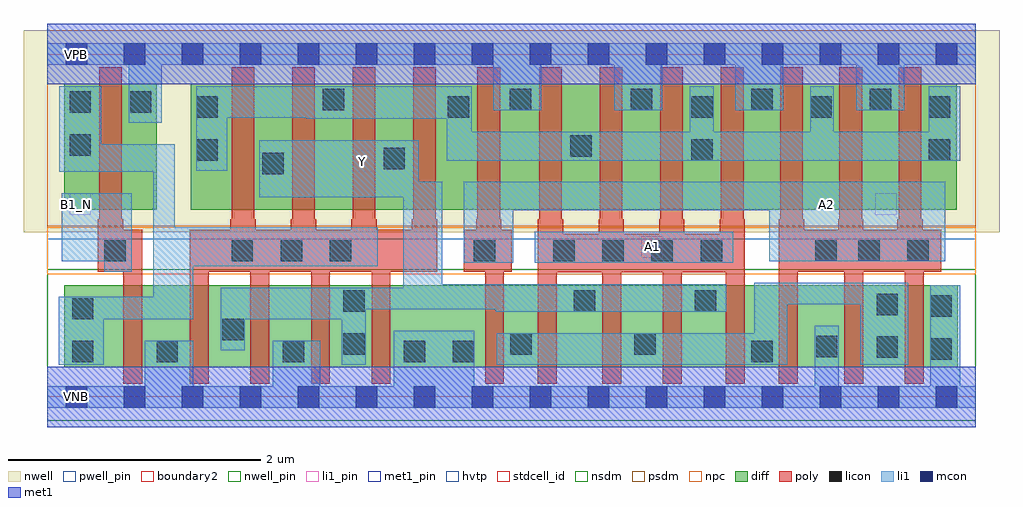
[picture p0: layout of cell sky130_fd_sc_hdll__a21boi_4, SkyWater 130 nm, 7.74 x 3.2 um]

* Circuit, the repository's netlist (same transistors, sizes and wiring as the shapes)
* Copyright 2020 The SkyWater PDK Authors
*
* Licensed under the Apache License, Version 2.0 (the "License");
* you may not use this file except in compliance with the License.
* You may obtain a copy of the License at
*
*     https://www.apache.org/licenses/LICENSE-2.0
*
* Unless required by applicable law or agreed to in writing, software
* distributed under the License is distributed on an "AS IS" BASIS,
* WITHOUT WARRANTIES OR CONDITIONS OF ANY KIND, either express or implied.
* See the License for the specific language governing permissions and
* limitations under the License.
*
* SPDX-License-Identifier: Apache-2.0

.SUBCKT sky130_fd_sc_hdll__a21boi_4 A1 A2 B1_N VGND VNB VPB VPWR Y
*.PININFO A1:I A2:I B1_N:I VGND:I VNB:I VPB:I VPWR:I Y:O
MMPA0 net40 A1 VPWR VPB sky130_fd_pr__pfet_01v8_hvt m=4 w=1.0U l=0.18U mult=1 sa=0.265
+ sb=0.265 sd=0.28 area=0.063 perim=1.14
MMPA1 net40 A2 VPWR VPB sky130_fd_pr__pfet_01v8_hvt m=4 w=1.0U l=0.18U mult=1 sa=0.265
+ sb=0.265 sd=0.28 area=0.063 perim=1.14
MMPB0 Y B1 net40 VPB sky130_fd_pr__pfet_01v8_hvt m=4 w=1.0U l=0.18U mult=1 sa=0.265
+ sb=0.265 sd=0.28 area=0.063 perim=1.14
MMIPB1N B1 B1_N VPWR VPB sky130_fd_pr__pfet_01v8_hvt m=1 w=1.0U l=0.18U mult=1
+ sa=0.265 sb=0.265 sd=0.28 area=0.063 perim=1.14
MMNA0 Y A1 sndA1 VNB sky130_fd_pr__nfet_01v8 m=4 w=0.65U l=0.15U mult=1 sa=0.265
+ sb=0.265 sd=0.28 area=0.063 perim=1.14
MMNA1 sndA1 A2 VGND VNB sky130_fd_pr__nfet_01v8 m=4 w=0.65U l=0.15U mult=1 sa=0.265
+ sb=0.265 sd=0.28 area=0.063 perim=1.14
MMNB0 Y B1 VGND VNB sky130_fd_pr__nfet_01v8 m=4 w=0.65U l=0.15U mult=1 sa=0.265
+ sb=0.265 sd=0.28 area=0.063 perim=1.14
MMINB1N B1 B1_N VGND VNB sky130_fd_pr__nfet_01v8 m=1 w=0.65U l=0.15U mult=1 sa=0.265
+ sb=0.265 sd=0.28 area=0.063 perim=1.14
.ENDS sky130_fd_sc_hdll__a21boi_4

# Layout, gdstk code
import gdstk
lib = gdstk.Library(unit=1e-6, precision=1e-09)
def R(c, l, rs):  # rectangles x0, y0, x1, y1
    for r in rs: c.add(gdstk.rectangle(r[:2], r[2:], *l))
def A(c, l, x, y, w, h, nx, ny, dx, dy):  # array of equal rectangles
    R(c, l, [(x+i*dx, y+j*dy, x+i*dx+w, y+j*dy+h) for i in range(nx) for j in range(ny)])
def P(c, l, *ps):  # polygons
    for p in ps: c.add(gdstk.Polygon(p, *l))
nwell_pin = (64, 16)
nwell = (64, 20)
diff = (65, 20)
poly = (66, 20)
licon = (66, 44)
li1_pin = (67, 16)
li1 = (67, 20)
mcon = (67, 44)
met1_pin = (68, 16)
met1 = (68, 20)
hvtp = (78, 44)
stdcell_id = (81, 4)
nsdm = (93, 44)
psdm = (94, 20)
npc = (95, 20)
pwell_pin = (122, 16)
boundary2 = (236, 0)

sky130_fd_sc_hdll__a21bo = lib.new_cell('sky130_fd_sc_hdll__a21boi_4')
R(sky130_fd_sc_hdll__a21bo, nwell_pin, [(0.145,2.635,0.315,2.805)])
R(sky130_fd_sc_hdll__a21bo, nwell, [(-0.19,1.305,7.55,2.91)])
R(sky130_fd_sc_hdll__a21bo, diff, [(0.135,0.235,7.22,0.885), (0.135,1.485,0.865,2.485), (1.135,1.485,7.21,2.485)])
P(sky130_fd_sc_hdll__a21bo, poly, [(0.75,1.325),(0.6,1.325),(0.6,1.41),(0.59,1.41),(0.59,2.615),(0.41,2.615),(0.41,1.41),(0.4,1.41),(0.4,0.995),(0.6,0.995),(0.6,0.105),(0.75,0.105)],
  [(3.09,1.41),(3.08,1.41),(3.08,2.615),(2.9,2.615),(2.9,1.41),(2.89,1.41),(2.89,1.325),(2.61,1.325),(2.61,1.41),(2.6,1.41),(2.6,2.615),(2.42,2.615),(2.42,1.41),(2.41,1.41),(2.41,1.325),(2.13,1.325),(2.13,1.41),(2.12,1.41),(2.12,2.615),(1.94,2.615),(1.94,1.41),(1.93,1.41),(1.93,1.325),(1.65,1.325),(1.65,1.41),(1.64,1.41),(1.64,2.615),(1.46,2.615),(1.46,1.41),(1.45,1.41),(1.45,1.325),(1.13,1.325),(1.13,0.105),(1.28,0.105),(1.28,0.995),(1.61,0.995),(1.61,0.105),(1.76,0.105),(1.76,0.995),(2.09,0.995),(2.09,0.105),(2.24,0.105),(2.24,0.995),(2.57,0.995),(2.57,0.105),(2.72,0.105),(2.72,0.995),(3.09,0.995)],
  [(3.68,1.325),(3.6,1.325),(3.6,1.41),(3.59,1.41),(3.59,2.615),(3.41,2.615),(3.41,1.41),(3.4,1.41),(3.4,1.325),(3.3,1.325),(3.3,0.995),(3.47,0.995),(3.47,0.105),(3.62,0.105),(3.62,0.995),(3.68,0.995)],
  [(5.53,1.41),(5.52,1.41),(5.52,2.615),(5.34,2.615),(5.34,1.41),(5.33,1.41),(5.33,1.295),(5.05,1.295),(5.05,1.41),(5.04,1.41),(5.04,2.615),(4.86,2.615),(4.86,1.41),(4.85,1.41),(4.85,1.295),(4.57,1.295),(4.57,1.41),(4.56,1.41),(4.56,2.615),(4.38,2.615),(4.38,1.41),(4.37,1.41),(4.37,1.295),(4.09,1.295),(4.09,1.41),(4.08,1.41),(4.08,2.615),(3.9,2.615),(3.9,1.41),(3.89,1.41),(3.89,0.105),(4.04,0.105),(4.04,0.99),(4.4,0.99),(4.4,0.105),(4.55,0.105),(4.55,0.99),(4.88,0.99),(4.88,0.105),(5.03,0.105),(5.03,0.99),(5.38,0.99),(5.38,0.105),(5.53,0.105)],
  [(7.09,1.325),(6.94,1.325),(6.94,1.41),(6.93,1.41),(6.93,2.615),(6.75,2.615),(6.75,1.41),(6.74,1.41),(6.74,1.325),(6.47,1.325),(6.47,1.41),(6.46,1.41),(6.46,2.615),(6.28,2.615),(6.28,1.41),(6.27,1.41),(6.27,1.325),(6,1.325),(6,1.41),(5.99,1.41),(5.99,2.615),(5.81,2.615),(5.81,1.41),(5.8,1.41),(5.8,0.105),(5.95,0.105),(5.95,0.995),(6.32,0.995),(6.32,0.105),(6.47,0.105),(6.47,0.995),(6.8,0.995),(6.8,0.105),(6.95,0.105),(6.95,0.995),(7.09,0.995)])
A(sky130_fd_sc_hdll__a21bo, licon, 1.46, 1.075, 0.17, 0.17, 3, 1, 0.39, 0)
A(sky130_fd_sc_hdll__a21bo, licon, 4.01, 1.075, 0.17, 0.17, 4, 1, 0.39, 0)
R(sky130_fd_sc_hdll__a21bo, licon, [(0.195,0.275,0.365,0.445), (0.865,0.275,1.035,0.445), (1.865,0.275,2.035,0.445), (2.825,0.275,2.995,0.445), (3.215,0.275,3.385,0.445), (5.58,0.275,5.75,0.445), (7,0.295,7.17,0.465), (6.575,0.31,6.745,0.48), (6.095,0.315,6.265,0.485), (2.345,0.335,2.515,0.505), (3.67,0.335,3.84,0.505), (4.655,0.335,4.825,0.505), (1.385,0.45,1.555,0.62), (0.195,0.615,0.365,0.785), (7,0.635,7.17,0.805), (6.575,0.65,6.745,0.82), (2.345,0.675,2.515,0.845), (4.175,0.675,4.345,0.845), (5.135,0.675,5.305,0.845), (0.45,1.075,0.62,1.245), (3.38,1.075,3.55,1.245), (6.09,1.075,6.26,1.245), (6.43,1.075,6.6,1.245), (6.82,1.075,6.99,1.245), (1.705,1.765,1.875,1.935), (2.665,1.805,2.835,1.975), (1.18,1.875,1.35,2.045), (5.105,1.875,5.275,2.045), (6.99,1.875,7.16,2.045), (4.145,1.905,4.315,2.075), (0.175,1.915,0.345,2.085), (1.18,2.215,1.35,2.385), (3.175,2.215,3.345,2.385), (5.105,2.215,5.275,2.385), (6.05,2.215,6.22,2.385), (6.99,2.215,7.16,2.385), (0.175,2.255,0.345,2.425), (0.655,2.255,0.825,2.425), (2.185,2.275,2.355,2.445), (3.665,2.275,3.835,2.445), (4.625,2.275,4.795,2.445), (5.58,2.275,5.75,2.445), (6.52,2.275,6.69,2.445)])
R(sky130_fd_sc_hdll__a21bo, li1_pin, [(4.71,1.105,4.88,1.275), (0.175,1.445,0.345,1.615), (6.565,1.445,6.735,1.615), (2.42,1.785,2.59,1.955)])
R(sky130_fd_sc_hdll__a21bo, li1, [(3.865,1.065,5.44,1.31)])
P(sky130_fd_sc_hdll__a21bo, li1, [(0.67,1.615),(0.115,1.615),(0.115,1.075),(0.45,1.075),(0.45,0.995),(0.67,0.995)],
  [(2.62,1.345),(1.01,1.345),(1.01,2.005),(0.425,2.005),(0.425,2.465),(0.095,2.465),(0.095,1.785),(0.84,1.785),(0.84,0.795),(0.09,0.795),(0.09,0.255),(0.445,0.255),(0.445,0.615),(1.155,0.615),(1.155,1.035),(2.62,1.035)],
  [(5.385,0.895),(3.13,0.895),(3.13,1.705),(2.945,1.705),(2.945,2.035),(1.68,2.035),(1.68,1.585),(2.82,1.585),(2.82,0.865),(1.375,0.865),(1.375,0.37),(1.565,0.37),(1.565,0.615),(2.335,0.615),(2.335,0.255),(2.525,0.255),(2.525,0.695),(3.555,0.695),(3.555,0.675),(5.385,0.675)],
  [(7.36,0.085),(7.24,0.085),(7.24,0.885),(7,0.885),(7,0.085),(6.275,0.085),(6.275,0.565),(6.085,0.565),(6.085,0.085),(3.385,0.085),(3.385,0.525),(2.745,0.525),(2.745,0.085),(2.165,0.085),(2.165,0.445),(1.785,0.445),(1.785,0.085),(1.155,0.085),(1.155,0.445),(0.77,0.445),(0.77,0.085),(0,0.085),(0,-0.085),(7.36,-0.085)],
  [(7.36,2.805),(0,2.805),(0,2.635),(0.645,2.635),(0.645,2.175),(0.905,2.175),(0.905,2.635),(3.535,2.635),(3.535,2.275),(3.915,2.275),(3.915,2.635),(4.495,2.635),(4.495,2.275),(4.875,2.275),(4.875,2.635),(5.455,2.635),(5.455,2.275),(5.835,2.275),(5.835,2.635),(6.415,2.635),(6.415,2.275),(6.795,2.275),(6.795,2.635),(7.36,2.635)],
  [(6.825,0.905),(5.605,0.905),(5.605,0.505),(3.565,0.505),(3.565,0.255),(5.865,0.255),(5.865,0.735),(6.445,0.735),(6.445,0.255),(6.825,0.255)],
  [(7.12,1.705),(3.3,1.705),(3.3,1.065),(3.695,1.065),(3.695,1.48),(5.725,1.48),(5.725,1.075),(7.12,1.075)],
  [(7.24,2.465),(6.99,2.465),(6.99,2.105),(6.235,2.105),(6.235,2.465),(6.05,2.465),(6.05,2.105),(5.285,2.105),(5.285,2.465),(5.095,2.465),(5.095,2.105),(3.365,2.105),(3.365,2.465),(1.18,2.465),(1.18,1.795),(1.425,1.795),(1.425,2.215),(2.055,2.215),(2.055,2.205),(3.165,2.205),(3.165,1.875),(7.24,1.875)])
A(sky130_fd_sc_hdll__a21bo, mcon, 0.145, -0.085, 0.17, 0.17, 16, 2, 0.46, 2.72)
R(sky130_fd_sc_hdll__a21bo, mcon, [(7.045,-0.085,7.215,0.085)])
R(sky130_fd_sc_hdll__a21bo, met1_pin, [(0.145,-0.085,0.315,0.085), (0.145,2.635,0.315,2.805)])
R(sky130_fd_sc_hdll__a21bo, met1, [(0,-0.24,7.36,0.24), (0,2.48,7.36,2.96)])
R(sky130_fd_sc_hdll__a21bo, hvtp, [(0,1.25,7.36,2.72)])
R(sky130_fd_sc_hdll__a21bo, stdcell_id, [(0,0,7.36,2.72)])
R(sky130_fd_sc_hdll__a21bo, nsdm, [(0,-0.19,7.36,1.015)])
R(sky130_fd_sc_hdll__a21bo, psdm, [(0,1.355,7.36,2.91)])
R(sky130_fd_sc_hdll__a21bo, npc, [(0,0.975,7.36,1.345)])
R(sky130_fd_sc_hdll__a21bo, pwell_pin, [(0.145,-0.085,0.315,0.085)])
R(sky130_fd_sc_hdll__a21bo, boundary2, [(0,0,7.36,2.72)])
sky130_fd_sc_hdll__a21bo.add(gdstk.Label('Y', (2.5,1.87), layer=67, texttype=5))
sky130_fd_sc_hdll__a21bo.add(gdstk.Label('A1', (4.8,1.19), layer=67, texttype=5))
sky130_fd_sc_hdll__a21bo.add(gdstk.Label('B1_N', (0.23,1.53), layer=67, texttype=5))
sky130_fd_sc_hdll__a21bo.add(gdstk.Label('A2', (6.18,1.53), layer=67, texttype=5))
sky130_fd_sc_hdll__a21bo.add(gdstk.Label('VNB', (0.23,0), layer=64, texttype=59))
sky130_fd_sc_hdll__a21bo.add(gdstk.Label('VPB', (0.23,2.72), layer=64, texttype=5))
sky130_fd_sc_hdll__a21bo.add(gdstk.Label('VGND', (0.23,0), layer=68, texttype=5))
sky130_fd_sc_hdll__a21bo.add(gdstk.Label('VPWR', (0.23,2.72), layer=68, texttype=5))

lib.write_gds('sky130_fd_sc_hdll__a21boi_4.gds')
